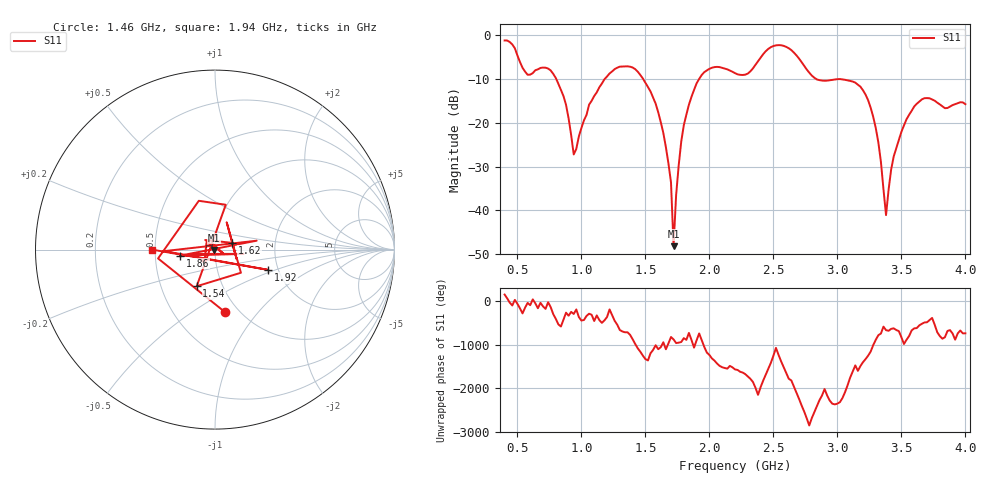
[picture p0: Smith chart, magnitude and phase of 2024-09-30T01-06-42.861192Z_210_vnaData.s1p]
!Created with skrf (http://scikit-rf.org).
# Hz S RI R 50.0
!freq ReS11 ImS11
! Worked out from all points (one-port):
!   181 points, 400 MHz to 4 GHz, reference 50 ohm
!   lowest |S11| = -48.2 dB at 1.72 GHz (marker M1), VSWR 1.01, Z = 49.6 - j0.141 ohm
!   |S11| at or under -10 dB: 803.5 MHz to 1.182 GHz (378.4 MHz wide, 38.1 % of centre); 1.483 GHz to 1.919 GHz (436.9 MHz wide, 25.7 % of centre); 2.835 GHz to end of sweep
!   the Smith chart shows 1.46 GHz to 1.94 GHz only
!   S11 on the Smith chart (normalised r, x): 1.46 GHz: 0.86, -0.69; 1.54 GHz: 0.75, -0.33; 1.62 GHz: 1.21, +0.09; 1.86 GHz: 0.67, -0.05; 1.92 GHz: 1.77, -0.45; 1.94 GHz: 0.48, +0.00
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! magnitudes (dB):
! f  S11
! 400 MHz  -1.2
! 580 MHz  -9.0
! 760 MHz  -8.0
! 860 MHz  -13.9
! 940 MHz  -27.2
! 1.06 GHz  -15.9
! 1.3 GHz  -7.2
! 1.46 GHz  -9.1
! 1.54 GHz  -12.8
! 1.62 GHz  -19.8
! 1.7 GHz  -33.6
! 1.72 GHz  -48.2
! 1.76 GHz  -29.8
! 1.86 GHz  -14.1
! 1.92 GHz  -10.0
! 1.94 GHz  -9.1
! 2.2 GHz  -8.7
! 2.5 GHz  -2.5
! 2.66 GHz  -4.0
! 2.84 GHz  -10.1
! 3.1 GHz  -10.4
! 3.28 GHz  -18.7
! 3.34 GHz  -28.9
! 3.38 GHz  -41.1
! 3.44 GHz  -27.7
! 3.56 GHz  -18.2
! 3.68 GHz  -14.4
! 4 GHz  -15.8
